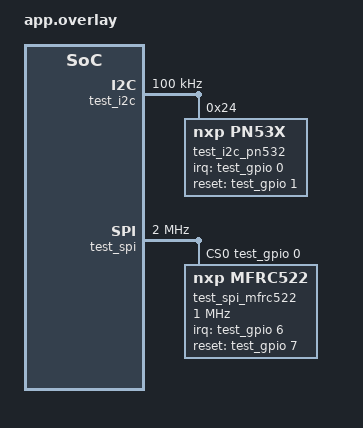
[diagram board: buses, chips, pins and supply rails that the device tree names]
/*
 * Copyright (c) 2026 RAKwireless Technology Limited
 *
 * SPDX-License-Identifier: Apache-2.0
 *
 * Application overlay for testing driver builds
 *
 * Names in this file should be chosen in a way that won't conflict
 * with real-world devicetree nodes, to allow these tests to run on
 * (and be extended to test) real hardware.
 */

/ {
	test {
		#address-cells = <1>;
		#size-cells = <1>;

		test_nfc_emul: test_nfc_emul {
			compatible = "zephyr,nfc-emul";
			backend = "initiator";
			status = "okay";
		};

		test_gpio: gpio@deadbeef {
			compatible = "vnd,gpio";
			gpio-controller;
			reg = <0xdeadbeef 0x1000>;
			#gpio-cells = <0x2>;
			status = "okay";
		};

		test_i2c: i2c@11112222 {
			#address-cells = <1>;
			#size-cells = <0>;
			compatible = "vnd,i2c";
			reg = <0x11112222 0x1000>;
			status = "okay";
			clock-frequency = <100000>;

			test_i2c_pn532: pn532@24 {
				compatible = "nxp,pn53x";
				reg = <0x24>;
				irq-gpios = <&test_gpio 0 0>;
				reset-gpios = <&test_gpio 1 0>;
			};
		};

		test_spi: spi@33334444 {
			#address-cells = <1>;
			#size-cells = <0>;
			compatible = "vnd,spi";
			reg = <0x33334444 0x1000>;
			status = "okay";
			clock-frequency = <2000000>;

			/* one entry for every CS line */
			cs-gpios = <&test_gpio 0 0>;

			test_spi_mfrc522: mfrc522@0 {
				compatible = "nxp,mfrc522";
				reg = <0x0>;
				spi-max-frequency = <1000000>;
				irq-gpios = <&test_gpio 6 0>;
				reset-gpios = <&test_gpio 7 0>;
			};
		};
	};
};
